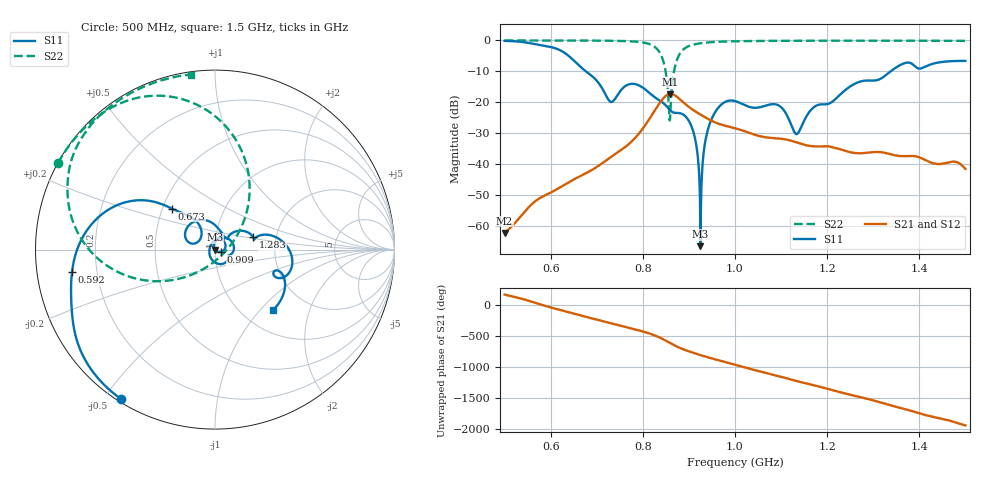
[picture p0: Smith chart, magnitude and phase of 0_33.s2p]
! TOUCHSTONE file generated by CST MICROWAVE STUDIO
! Date and time: Sat Oct 24 11:16:41 2020
! Project name: Scenario_1_Circular_Tissue_in_Line.cst
! Parameters = {L_HA=400; MT=2.54; Rad_Dielectric=30; Rad_Lower=7.3; Rad_Upper=30; a_HA=580; a_WG=246; b_HA=500; b_WG=121; c_HA=0; c_WG=187; d_feed=85; dx1=727.24; h_feed=15; h_lower=18; h_upper=40}
! Header version: 2018
! Port assignment regex: !\s*Touchstone port\s*([0-9]+)\s*=\s*(CST MWS port|CST DS port)\s*([0-9]+|Zmin|Zmax)\s*\(\"(.*)\"\)(\s*mode\s*([0-9]+))?.*
! Touchstone port assignment:
! Touchstone port 1 = CST MWS port 1 ("")
! Touchstone port 2 = CST MWS port 2 ("")
# GHz S DB R 50
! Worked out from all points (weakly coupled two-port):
!   1003 points, 500 MHz to 1.5 GHz, reference 50 ohm
!   highest |S21| = -17.32 dB at 860 MHz (marker M1); lowest = -62.4 dB at 500 MHz (marker M2)
!   lowest |S11| = -66.6 dB at 925 MHz (marker M3), VSWR 1.00, Z = 50 - j0.042 ohm
!   |S11| at or under -10 dB: 676.4 MHz to 1.338 GHz (661.5 MHz wide, 65.7 % of centre)
!   |S22| runs from -25.9 to 0.0 dB; largest |S21 - S12| = 0.00013
!   S11 on the Smith chart (normalised r, x): 500 MHz: 0.01, -0.55; 592 MHz: 0.11, -0.08; 673 MHz: 0.56, +0.29; 909 MHz: 1.07, -0.03; 1.283 GHz: 1.52, +0.22; 1.5 GHz: 1.36, -1.18
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0.5  -0.14 -122.2  -62.38 174.3  -62.38 174.3  -0.01 151.1
0.592  -1.86 -171.0  -49.85 -16.9  -49.85 -16.9  -0.02 144.7
0.633  -4.31 156.6  -46.46 -99.5  -46.46 -99.5  -0.03 141.4
0.667  -8.86 138.0  -43.72 -167.7  -43.72 -167.7  -0.04 138.4
0.673  -9.61 136.4  -43.27 -179.3  -43.27 -179.3  -0.04 137.8
0.73  -19.87 143.0  -37.86 73.0  -37.86 73.0  -0.11 130.9
0.777  -14.05 137.7  -32.54 -16.2  -32.54 -16.2  -0.31 121.2
0.834  -19.22 74.7  -20.83 -150.7  -20.82 -150.7  -3.35 84.2
0.848  -20.76 59.4  -18.19 158.2  -18.19 158.2  -8.87 57.8
0.86  -22.72 49.4  -17.32 108.9  -17.32 108.9  -22.57 -99.2
0.876  -23.48 39.3  -18.50 47.9  -18.50 47.9  -5.54 -164.8
0.909  -29.29 -22.3  -22.50 -44.3  -22.50 -44.3  -1.37 162.8
0.925  -66.62 -64.2  -24.00 -82.0  -24.00 -82.0  -0.92 156.0
0.936  -32.24 104.2  -24.97 -106.7  -24.97 -106.7  -0.73 152.5
0.949  -25.52 80.5  -26.01 -134.2  -26.01 -134.2  -0.56 149.2
1  -19.63 -1.3  -28.42 122.0  -28.42 122.0  -0.28 140.2
1.094  -21.00 -63.7  -31.75 -60.0  -31.75 -60.0  -0.13 130.2
1.133  -30.32 170.6  -32.99 -139.2  -32.99 -139.2  -0.11 126.9
1.167  -22.16 63.5  -34.24 159.0  -34.24 159.0  -0.10 124.2
1.283  -13.00 18.0  -36.43 -58.9  -36.43 -58.9  -0.08 115.3
1.334  -10.45 16.1  -36.72 -164.3  -36.72 -164.3  -0.09 111.5
1.5  -6.62 -46.5  -41.60 -136.7  -41.60 -136.7  -0.13 97.9
